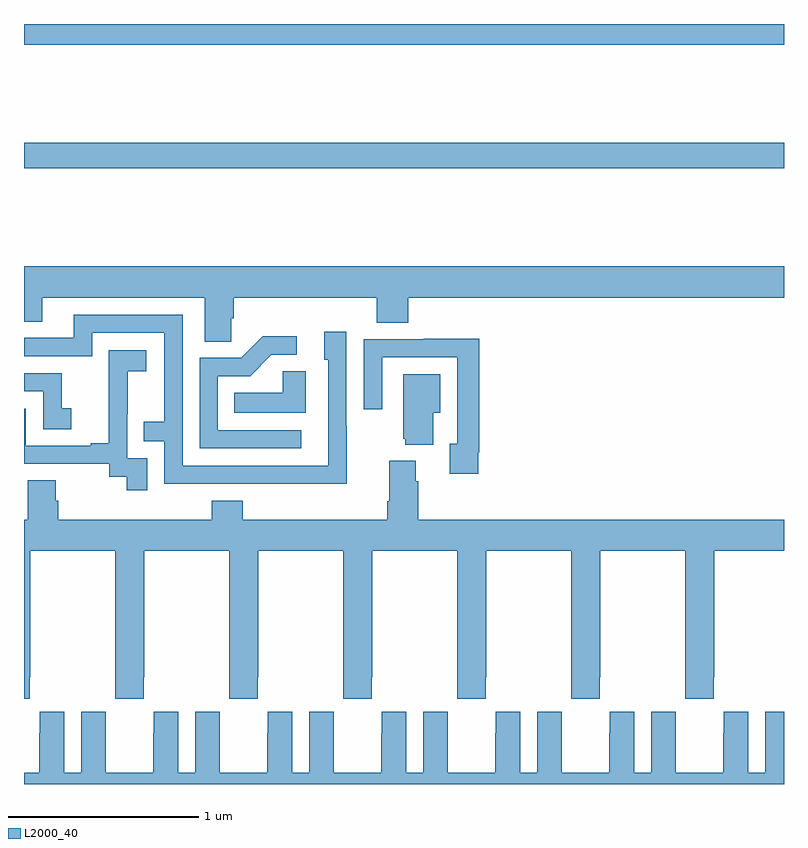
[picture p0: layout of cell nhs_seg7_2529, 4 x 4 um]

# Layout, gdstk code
import gdstk
lib = gdstk.Library(unit=1e-6, precision=1e-09)
def R(c, l, rs):  # rectangles x0, y0, x1, y1
    for r in rs: c.add(gdstk.rectangle(r[:2], r[2:], *l))
def P(c, l, *ps):  # polygons
    for p in ps: c.add(gdstk.Polygon(p, *l))
L2000_40 = (2000, 40)

nhs_seg7_2529 = lib.new_cell('nhs_seg7_2529')
R(nhs_seg7_2529, L2000_40, [(275,1057.24,279,1057.376), (275,1057.892,279,1058)])
P(nhs_seg7_2529, L2000_40, [(276.09,1056.451),(276.104,1056.451),(276.104,1056.56),(276.857,1056.56),(276.857,1056.427),(277.022,1056.427),(277.022,1056.56),(279,1056.56),(279,1056.724),(275,1056.724),(275,1056.433),(275.095,1056.433),(275.095,1056.56),(275.951,1056.56),(275.951,1056.328),(276.09,1056.328)],
  [(276.699,1055.885),(276.696,1055.885),(276.696,1056.379),(276.581,1056.379),(276.581,1056.234),(276.6,1056.234),(276.6,1055.676),(275.835,1055.676),(275.835,1056.471),(275.261,1056.471),(275.261,1056.348),(275,1056.348),(275,1056.252),(275.358,1056.252),(275.358,1056.375),(275.739,1056.375),(275.739,1055.906),(275.629,1055.906),(275.629,1055.805),(275.739,1055.805),(275.739,1055.58),(276.235,1055.58),(276.235,1055.579),(276.699,1055.579)],
  [(276.46,1055.862),(276.021,1055.862),(276.021,1056.147),(276.19,1056.147),(276.301,1056.258),(276.436,1056.258),(276.436,1056.356),(276.257,1056.356),(276.144,1056.243),(275.925,1056.243),(275.925,1055.766),(276.46,1055.766)],
  [(277.39,1055.746),(277.397,1055.746),(277.397,1056.344),(277.105,1056.344),(277.105,1056.342),(276.789,1056.342),(276.789,1055.973),(276.885,1055.973),(276.885,1056.246),(277.281,1056.246),(277.281,1055.79),(277.241,1055.79),(277.241,1055.634),(277.39,1055.634)],
  [(275.649,1055.715),(275.544,1055.715),(275.544,1055.945),(275.546,1055.945),(275.546,1056.173),(275.644,1056.173),(275.644,1056.283),(275.446,1056.283),(275.446,1056.077),(275.447,1056.077),(275.447,1055.794),(275.351,1055.794),(275.351,1055.781),(275.01,1055.781),(275.01,1055.976),(275,1055.976),(275,1055.685),(275.448,1055.685),(275.448,1055.617),(275.541,1055.617),(275.541,1055.547),(275.649,1055.547)],
  [(276.484,1056.173),(276.363,1056.173),(276.363,1056.058),(276.106,1056.058),(276.106,1055.954),(276.484,1055.954)],
  [(275.248,1055.977),(275.199,1055.977),(275.199,1056.162),(275,1056.162),(275,1056.066),(275.1,1056.066),(275.1,1055.868),(275.248,1055.868)],
  [(277.153,1055.954),(277.192,1055.954),(277.192,1056.157),(276.995,1056.157),(276.995,1055.817),(277.007,1055.817),(277.007,1055.786),(277.153,1055.786)],
  [(277.279,1054.561),(277.281,1054.561),(277.281,1054.449),(277.431,1054.449),(277.431,1054.561),(277.434,1054.561),(277.434,1055.228),(277.879,1055.228),(277.879,1054.561),(277.881,1054.561),(277.881,1054.449),(278.031,1054.449),(278.031,1054.561),(278.034,1054.561),(278.034,1055.228),(278.479,1055.228),(278.479,1054.561),(278.481,1054.561),(278.481,1054.449),(278.631,1054.449),(278.631,1054.561),(278.634,1054.561),(278.634,1055.228),(279,1055.228),(279,1055.392),(277.076,1055.392),(277.076,1055.594),(277.063,1055.594),(277.063,1055.701),(276.923,1055.701),(276.923,1055.488),(276.911,1055.488),(276.911,1055.392),(276.152,1055.392),(276.152,1055.491),(275.987,1055.491),(275.987,1055.392),(275.18,1055.392),(275.18,1055.49),(275.167,1055.49),(275.167,1055.6),(275.02,1055.6),(275.02,1055.392),(275,1055.392),(275,1054.449),(275.031,1054.449),(275.031,1054.561),(275.034,1054.561),(275.034,1055.228),(275.479,1055.228),(275.479,1054.561),(275.481,1054.561),(275.481,1054.449),(275.631,1054.449),(275.631,1054.561),(275.634,1054.561),(275.634,1055.228),(276.079,1055.228),(276.079,1054.561),(276.081,1054.561),(276.081,1054.449),(276.231,1054.449),(276.231,1054.561),(276.234,1054.561),(276.234,1055.228),(276.679,1055.228),(276.679,1054.561),(276.681,1054.561),(276.681,1054.449),(276.831,1054.449),(276.831,1054.561),(276.834,1054.561),(276.834,1055.228),(277.279,1055.228)],
  [(278.082,1054.381),(278.082,1054.268),(278.081,1054.268),(278.081,1054.06),(277.831,1054.06),(277.831,1054.268),(277.83,1054.268),(277.83,1054.381),(277.7,1054.381),(277.7,1054.06),(277.612,1054.06),(277.612,1054.381),(277.482,1054.381),(277.482,1054.268),(277.481,1054.268),(277.481,1054.06),(277.231,1054.06),(277.231,1054.268),(277.23,1054.268),(277.23,1054.381),(277.1,1054.381),(277.1,1054.06),(277.012,1054.06),(277.012,1054.381),(276.882,1054.381),(276.882,1054.268),(276.881,1054.268),(276.881,1054.06),(276.631,1054.06),(276.631,1054.268),(276.63,1054.268),(276.63,1054.381),(276.5,1054.381),(276.5,1054.06),(276.412,1054.06),(276.412,1054.381),(276.282,1054.381),(276.282,1054.268),(276.281,1054.268),(276.281,1054.06),(276.031,1054.06),(276.031,1054.268),(276.03,1054.268),(276.03,1054.381),(275.9,1054.381),(275.9,1054.06),(275.812,1054.06),(275.812,1054.381),(275.682,1054.381),(275.682,1054.268),(275.681,1054.268),(275.681,1054.06),(275.431,1054.06),(275.431,1054.268),(275.43,1054.268),(275.43,1054.381),(275.3,1054.381),(275.3,1054.06),(275.212,1054.06),(275.212,1054.381),(275.082,1054.381),(275.082,1054.268),(275.081,1054.268),(275.081,1054.06),(275,1054.06),(275,1054),(279,1054),(279,1054.381),(278.9,1054.381),(278.9,1054.06),(278.812,1054.06),(278.812,1054.381),(278.682,1054.381),(278.682,1054.268),(278.681,1054.268),(278.681,1054.06),(278.431,1054.06),(278.431,1054.268),(278.43,1054.268),(278.43,1054.381),(278.3,1054.381),(278.3,1054.06),(278.212,1054.06),(278.212,1054.381)])

lib.write_gds('nhs_seg7_2529.gds')
